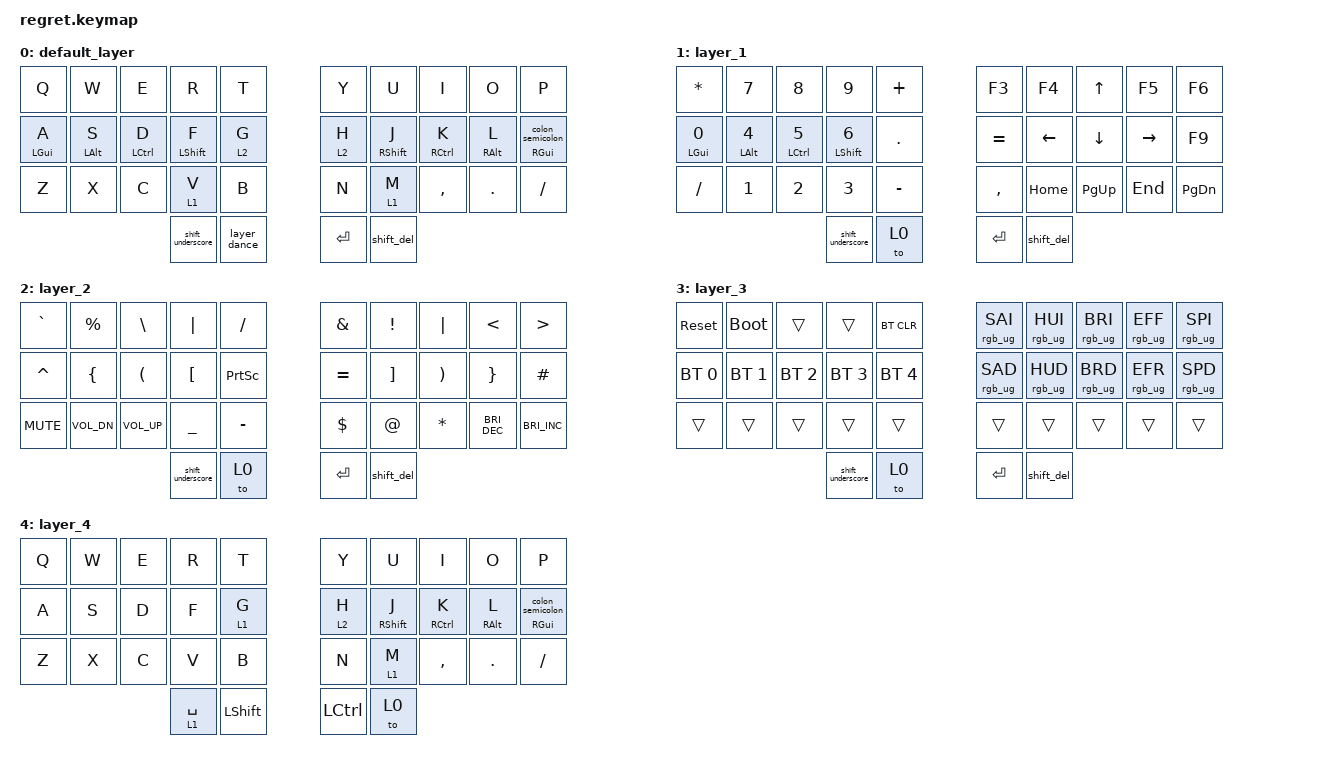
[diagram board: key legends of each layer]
#include <behaviors.dtsi>
#include <dt-bindings/zmk/bt.h>
#include <dt-bindings/zmk/keys.h>
#include <dt-bindings/zmk/rgb.h>

&mt { flavor = "tap-preferred"; };

/ {
    combos {
        compatible = "zmk,combos";

        /* Top corners (Q+P) = bootloader */
        /* Bottom corners (Z+/) = RGB toggle */

        combo_rgb_tog {
            key-positions = <20 29>;
            bindings = <&rgb_ug RGB_TOG>;
        };

        esc_combo {
            bindings = <&kp ESCAPE>;
            key-positions = <0 1>;
        };

        tab_combo {
            bindings = <&kp TAB>;
            key-positions = <10 11>;
        };

        ctrlz {
            bindings = <&kp LC(Z)>;
            key-positions = <20 21>;
        };

        ctrlx {
            bindings = <&kp LC(X)>;
            key-positions = <21 22>;
        };

        ctrlc {
            bindings = <&kp LC(C)>;
            key-positions = <22 23>;
        };

        ctrlv {
            bindings = <&kp LC(V)>;
            key-positions = <24 23>;
        };

        bslash_combo {
            bindings = <&kp BACKSLASH>;
            key-positions = <8 9>;
        };

        quote_combo {
            bindings = <&kp SINGLE_QUOTE>;
            key-positions = <18 19>;
        };

        tilde_combo {
            bindings = <&kp TILDE>;
            key-positions = <29 28>;
        };

        brackets_combo {
            bindings = <&brackets>;
            key-positions = <23 26>;
        };

        parentheses_combo {
            bindings = <&parentheses>;
            key-positions = <22 27>;
        };

        braces_combo {
            bindings = <&braces>;
            key-positions = <21 28>;
        };

        capsword_combo {
            bindings = <&caps_word>;
            key-positions = <13 16>;
        };

        F1_combo {
            bindings = <&kp F1>;
            key-positions = <3 0>;
        };

        F2_combo {
            bindings = <&kp F2>;
            key-positions = <6 9>;
        };
    };

    macros {
        brackets: brackets {
            compatible = "zmk,behavior-macro";
            #binding-cells = <0>;
            bindings = <&kp LEFT_BRACKET &kp RIGHT_BRACKET &kp LEFT>;
            label = "BRACKETS";
        };

        parentheses: parentheses {
            compatible = "zmk,behavior-macro";
            #binding-cells = <0>;
            bindings = <&kp LEFT_PARENTHESIS &kp RIGHT_PARENTHESIS &kp LEFT_ARROW>;
            label = "PARENTHESES";
        };

        braces: braces {
            compatible = "zmk,behavior-macro";
            #binding-cells = <0>;
            bindings = <&kp LEFT_BRACE &kp RIGHT_BRACE &kp LEFT>;
            label = "BRACES";
        };
    };

    behaviors {
        shift_del: shift_del {
            compatible = "zmk,behavior-mod-morph";
            label = "SHIFT_DEL";
            bindings = <&kp BACKSPACE>, <&kp DELETE>;

            #binding-cells = <0>;
            mods = <(MOD_LSFT|MOD_RSFT)>;
        };

        shift_underscore: shift_underscore {
            compatible = "zmk,behavior-mod-morph";
            label = "SHIFT_UNDERSCORE";
            bindings = <&kp SPACE>, <&kp UNDERSCORE>;

            #binding-cells = <0>;
            mods = <(MOD_LSFT|MOD_RSFT)>;
        };

        layer_dance: layer_dance {
            compatible = "zmk,behavior-tap-dance";
            label = "LAYER_DANCE";
            #binding-cells = <0>;
            bindings = <&to 1>, <&to 2>, <&to 3>, <&to 4>;

            tapping-term-ms = <400>;
        };

        colon_semicolon: colon_semicolon {
            compatible = "zmk,behavior-mod-morph";
            label = "COLON_SEMICOLON";
            bindings = <&kp COLON>, <&kp SEMI>;

            #binding-cells = <0>;
            mods = <(MOD_LSFT|MOD_RSFT)>;
        };

        colon_semicolon_rgui: colon_semicolon_rgui {
            compatible = "zmk,behavior-hold-tap";
            label = "COLON_SEMICOLON_RGUI";
            bindings = <&kp>, <&colon_semicolon>;

            #binding-cells = <2>;
            flavor = "tap-preferred";
            tapping-term-ms = <200>;
        };
    };

    keymap {
        compatible = "zmk,keymap";

        default_layer {
            // ------------------------------------------------------------------------------------------------------
            // |    Q    |    W    |    E    |    R    |    T    |    Y    |    U    |    I    |    O    |    P    |
            // |    A    |    S    |    D    |    F    |    G    |    H    |    J    |    K    |    L    |    ;    |
            // |    Z    |    X    |    C    |    V    |    B    |    N    |    M    |    ,    |    .    |    /    |
            //                               |   ESC   |  SPACE  | RETURN  |   BSPC  |

            bindings = <
&kp Q              &kp W         &kp E        &kp R        &kp T    &kp Y    &kp U        &kp I        &kp O       &kp P
&mt LGUI A         &mt LALT S    &mt LCTRL D  &mt LSHFT F  &lt 2 G  &lt 2 H  &mt RSHFT J  &mt RCTRL K  &mt RALT L  &colon_semicolon_rgui RGUI 0
&kp Z              &kp X         &kp C        &lt 1 V      &kp B    &kp N    &lt 1 M      &kp COMMA    &kp DOT     &kp FSLH
&shift_underscore  &layer_dance  &kp RET      &shift_del
            >;
        };

        layer_1 {
            bindings = <
&kp ASTRK          &kp N7           &kp N8        &kp N9        &kp PLUS    &kp F3     &kp F4          &kp UP_ARROW  &kp F5     &kp F6
&mt LGUI N0        &mt LEFT_ALT N4  &mt LCTRL N5  &mt LSHFT N6  &kp PERIOD  &kp EQUAL  &kp LEFT_ARROW  &kp DOWN      &kp RIGHT  &kp F9
&kp FSLH           &kp N1           &kp N2        &kp N3        &kp MINUS   &kp COMMA  &kp HOME        &kp PAGE_UP   &kp END    &kp PAGE_DOWN
&shift_underscore  &to 0            &kp ENTER     &shift_del
            >;
        };

        layer_2 {
            bindings = <
&kp GRAVE          &kp PERCENT     &kp BSLH              &kp PIPE          &kp SLASH        &kp AMPS    &kp EXCL           &kp PIPE               &kp LESS_THAN         &kp GREATER_THAN
&kp CARET          &kp LEFT_BRACE  &kp LEFT_PARENTHESIS  &kp LEFT_BRACKET  &kp PRINTSCREEN  &kp EQUAL   &kp RIGHT_BRACKET  &kp RIGHT_PARENTHESIS  &kp RIGHT_BRACE       &kp HASH
&kp K_MUTE         &kp C_VOL_DN    &kp C_VOLUME_UP       &kp UNDER         &kp MINUS        &kp DOLLAR  &kp AT             &kp ASTRK              &kp C_BRIGHTNESS_DEC  &kp C_BRIGHTNESS_INC
&shift_underscore  &to 0           &kp ENTER             &shift_del
            >;
        };

        layer_3 {
            bindings = <
&sys_reset         &bootloader   &trans        &trans        &bt BT_CLR    &rgb_ug RGB_SAI  &rgb_ug RGB_HUI  &rgb_ug RGB_BRI  &rgb_ug RGB_EFF  &rgb_ug RGB_SPI
&bt BT_SEL 0       &bt BT_SEL 1  &bt BT_SEL 2  &bt BT_SEL 3  &bt BT_SEL 4  &rgb_ug RGB_SAD  &rgb_ug RGB_HUD  &rgb_ug RGB_BRD  &rgb_ug RGB_EFR  &rgb_ug RGB_SPD
&trans             &trans        &trans        &trans        &trans        &trans           &trans           &trans           &trans           &trans
&shift_underscore  &to 0         &kp ENTER     &shift_del
            >;
        };

        layer_4 {
            bindings = <
&kp Q        &kp W      &kp E      &kp R  &kp T    &kp Y    &kp U        &kp I        &kp O       &kp P
&kp A        &kp S      &kp D      &kp F  &lt 1 G  &lt 2 H  &mt RSHFT J  &mt RCTRL K  &mt RALT L  &colon_semicolon_rgui RGUI 0
&kp Z        &kp X      &kp C      &kp V  &kp B    &kp N    &lt 1 M      &kp COMMA    &kp DOT     &kp FSLH
&lt 1 SPACE  &kp LSHFT  &kp LCTRL  &to 0
            >;
        };
    };
};
